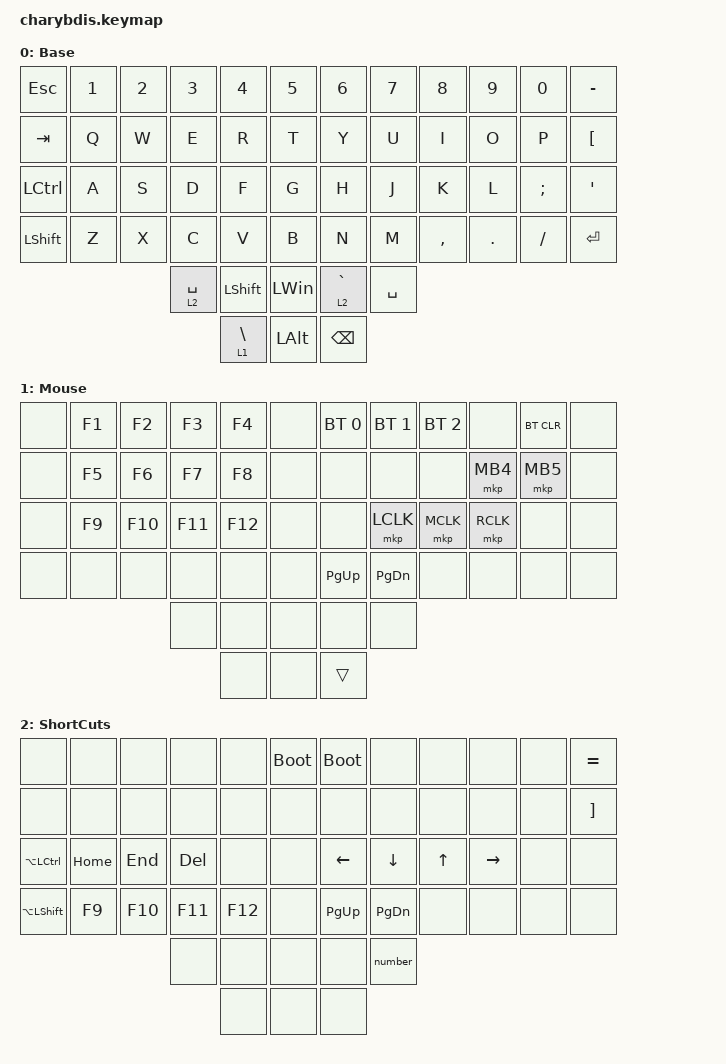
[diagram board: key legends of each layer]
#include <behaviors.dtsi>
#include <dt-bindings/zmk/bt.h>
#include <dt-bindings/zmk/keys.h>
#include <dt-bindings/zmk/mouse.h>

&lt {
    tapping-term-ms = <200>;
    flavor = "balanced";
    quick-tap-ms = <150>;
};

/ {
    combos { compatible = "zmk,combos"; };

    macros {
        number: number {
            compatible = "zmk,behavior-macro";
            #binding-cells = <0>;
            bindings = <&kp N1 &kp N4 &kp N5 &kp N2 &kp N3 &kp N6>;
            label = "NUMBER";
        };
    };

    behaviors {
        brace: brace {
            compatible = "zmk,behavior-tap-dance";
            label = "BRACE";
            #binding-cells = <0>;
            bindings = <&kp LEFT_BRACKET>, <&kp RIGHT_BRACKET>;
        };

        equal: equal {
            compatible = "zmk,behavior-tap-dance";
            label = "EQUAL";
            #binding-cells = <0>;
            bindings = <&kp MINUS>, <&kp EQUAL>;
        };
    };

    keymap {
        compatible = "zmk,keymap";

        Base {
            bindings = <
&kp ESC         &kp N1  &kp N2  &kp N3       &kp N4           &kp N5          &kp N6       &kp N7     &kp N8     &kp N9   &kp N0     &kp MINUS
&kp TAB         &kp Q   &kp W   &kp E        &kp R            &kp T           &kp Y        &kp U      &kp I      &kp O    &kp P      &kp LBKT
&kp LCTRL       &kp A   &kp S   &kp D        &kp F            &kp G           &kp H        &kp J      &kp K      &kp L    &kp SEMI   &kp APOS
&kp LEFT_SHIFT  &kp Z   &kp X   &kp C        &kp V            &kp B           &kp N        &kp M      &kp COMMA  &kp DOT  &kp SLASH  &kp ENTER
                                &lt 2 SPACE  &kp LEFT_SHIFT   &kp LEFT_WIN    &lt 2 GRAVE  &kp SPACE
                                             &lt 1 BACKSLASH  &kp LEFT_ALT    &kp BSPC
            >;

            trackball-bindings = <&tmv_coarse>;
        };

        Mouse {
            bindings = <
&none  &kp F1  &kp F2   &kp F3   &kp F4   &none    &bt BT_SEL 0  &bt BT_SEL 1   &bt BT_SEL 2  &none      &bt BT_CLR  &none
&none  &kp F5  &kp F6   &kp F7   &kp F8   &none    &none         &none          &none         &mkp MB4   &mkp MB5    &none
&none  &kp F9  &kp F10  &kp F11  &kp F12  &none    &none         &mkp LCLK      &mkp MCLK     &mkp RCLK  &none       &none
&none  &none   &none    &none    &none    &none    &kp PAGE_UP   &kp PAGE_DOWN  &none         &none      &none       &none
                        &none    &none    &none    &none         &none
                                 &none    &none    &trans
            >;
        };

        ShortCuts {
            bindings = <
&none               &none     &none    &none    &none    &bootloader    &bootloader     &none           &none         &none            &none  &kp EQUAL
&none               &none     &none    &none    &none    &none          &none           &none           &none         &none            &none  &kp RBKT
&kp LA(LCTRL)       &kp HOME  &kp END  &kp DEL  &none    &none          &kp LEFT_ARROW  &kp DOWN_ARROW  &kp UP_ARROW  &kp RIGHT_ARROW  &none  &none
&kp LA(LEFT_SHIFT)  &kp F9    &kp F10  &kp F11  &kp F12  &none          &kp PAGE_UP     &kp PAGE_DOWN   &none         &none            &none  &none
                                       &none    &none    &none          &none           &number
                                                &none    &none          &none
            >;
        };
    };
};
